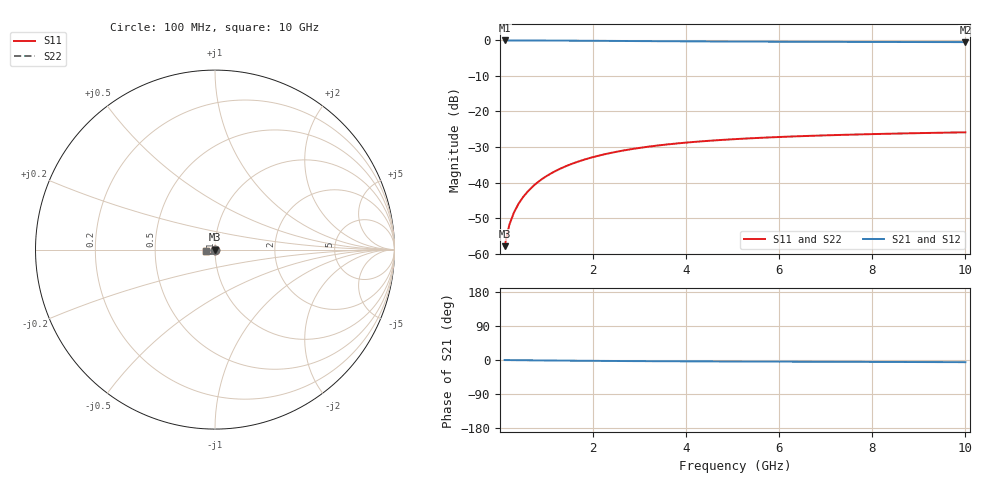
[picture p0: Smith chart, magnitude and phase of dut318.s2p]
! Touchstone file exported from HFSS 2024.1.0
!  File:  C:/UserFiles/LocalFiles/RDL_TSV_Batchsim/temp_TSV1_318_1779616621.aedt
!  Generated:  06:02:45 PM May 24, 2026
!  Design:  TSV1
!  Project:  temp_TSV1_318_1779616621
!  Setup:  Setup1
!  Solution:  Sweep
! Variables:
!  dtsv = 8.83um
!  hbump = 3um
!  htsv = 91.66um
!  lrdl = 252.1521522um
!  p = 40
!  p1 = 41.72um
!  t = 500um
!  trdl = 3um
!  wrdl = 24.89489489um
# GHz S MA R 50.000000
! Terminal data exported
! Port[1] = TSV22_T1
! Port[2] = TSV22_T2
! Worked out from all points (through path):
!   100 points, 100 MHz to 10 GHz, reference 50 ohm
!   highest |S21| = 0.00 dB at 100 MHz (marker M1); lowest = -0.5 dB at 10 GHz (marker M2)
!   lowest |S11| = -57.9 dB at 100 MHz (marker M3), VSWR 1.00, Z = 50 - j0.126 ohm
!   |S11| at or under -10 dB: start of sweep to end of sweep
!   |S22| runs from -57.9 to -25.9 dB; largest |S21 - S12| = 3.6e-15
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0.1  0.00127 -82.2  0.9998 -0.1  0.9998 -0.1  0.00127 -82.2
! Gamma 0 0 0 0
! Port Impedance 50 0 50 0
0.2  0.002521 -88.2  0.9996 -0.3  0.9996 -0.3  0.002521 -88.2
0.3  0.003778 -91.3  0.9994 -0.4  0.9994 -0.4  0.003778 -91.3
0.4  0.005033 -93.6  0.9992 -0.5  0.9992 -0.5  0.005033 -93.6
0.5  0.00628 -95.6  0.9989 -0.6  0.9989 -0.6  0.00628 -95.6
0.6  0.007517 -97.5  0.9985 -0.8  0.9985 -0.8  0.007517 -97.5
0.7  0.00874 -99.3  0.9981 -0.9  0.9981 -0.9  0.00874 -99.3
0.8  0.009948 -101.0  0.9976 -1.0  0.9976 -1.0  0.009948 -101.0
0.9  0.01114 -102.7  0.997 -1.1  0.997 -1.1  0.01114 -102.7
1.1  0.01346 -105.8  0.9958 -1.3  0.9958 -1.3  0.01346 -105.8
1.4  0.01679 -110.4  0.9936 -1.7  0.9936 -1.7  0.01679 -110.4
1.6  0.01889 -113.3  0.992 -1.9  0.992 -1.9  0.01889 -113.3
1.8  0.02088 -116.0  0.9903 -2.0  0.9903 -2.0  0.02088 -116.0
2.1  0.02368 -120.0  0.9877 -2.3  0.9877 -2.3  0.02368 -120.0
2.5  0.02705 -124.9  0.9841 -2.6  0.9841 -2.6  0.02705 -124.9
2.9  0.03002 -129.5  0.9805 -2.9  0.9805 -2.9  0.03002 -129.5
3.4  0.03324 -134.6  0.9763 -3.2  0.9763 -3.2  0.03324 -134.6
4.2  0.0374 -141.9  0.9702 -3.6  0.9702 -3.6  0.0374 -141.9
5.1  0.04098 -148.8  0.9645 -4.0  0.9645 -4.0  0.04098 -148.8
6.7  0.04547 -158.7  0.9569 -4.6  0.9569 -4.6  0.04546 -158.7
8.4  0.04868 -167.0  0.9514 -5.2  0.9514 -5.2  0.04868 -167.0
10  0.0509 -173.5  0.9477 -5.7  0.9477 -5.7  0.0509 -173.5
